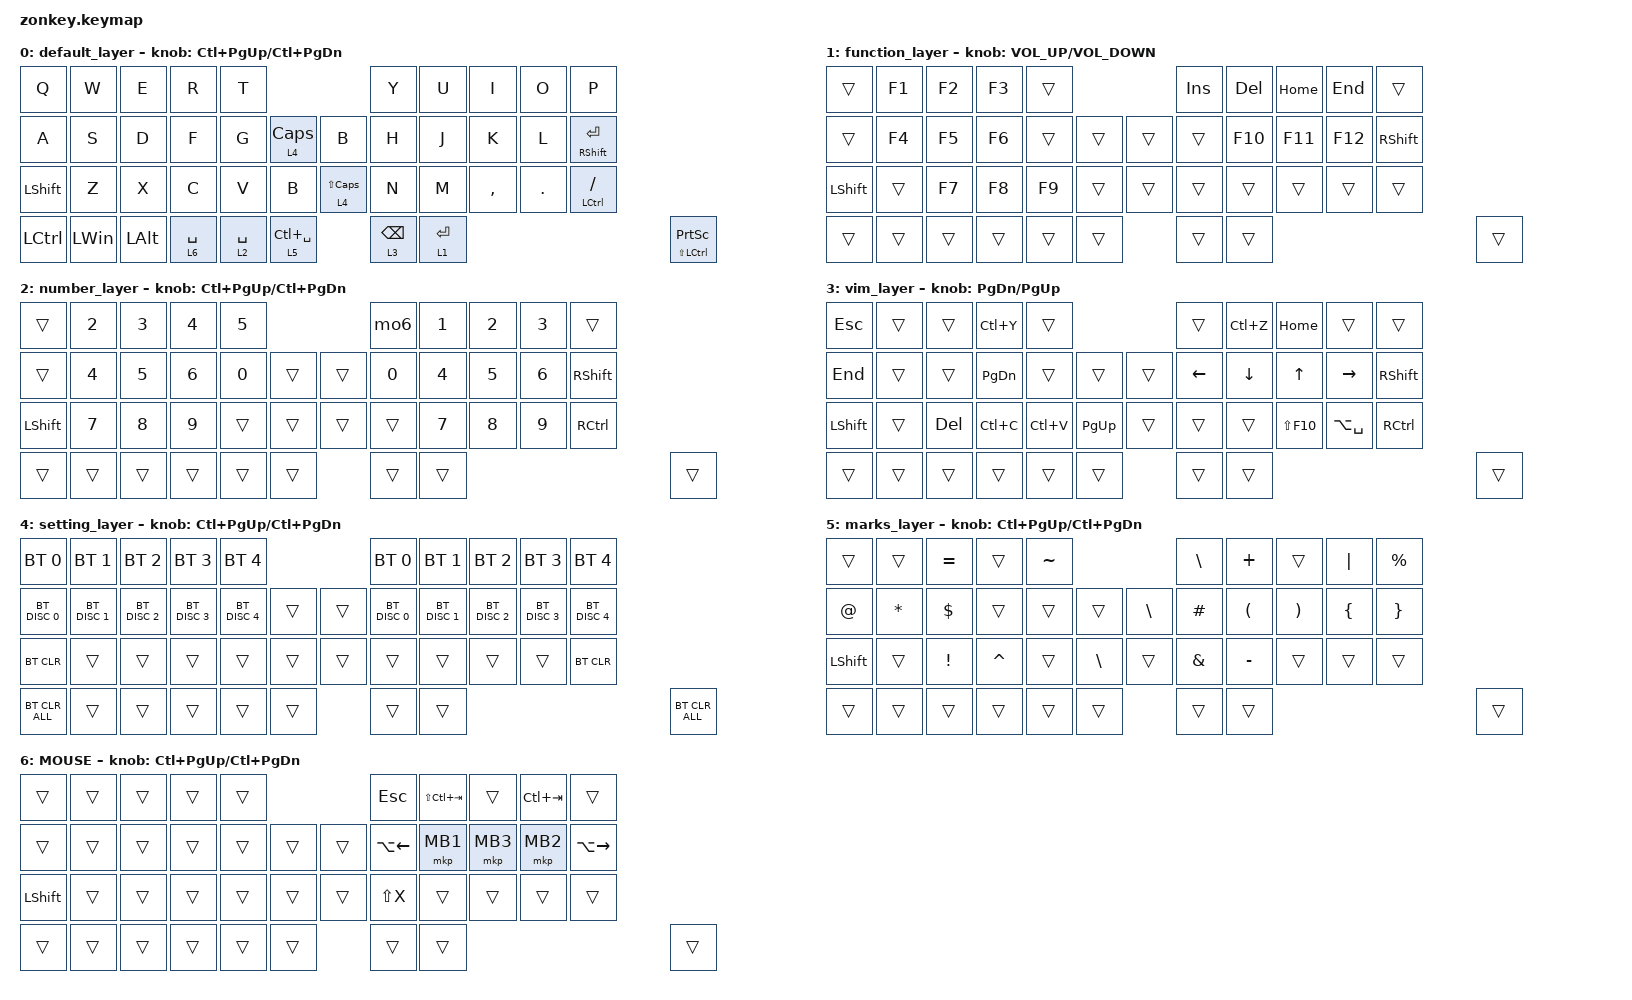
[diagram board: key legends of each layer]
#include <physical_layouts.dtsi>
#include <behaviors.dtsi>
#include <dt-bindings/zmk/bt.h>
#include <dt-bindings/zmk/keys.h>
#include <dt-bindings/zmk/pointing.h>

#define ZMK_POINTING_DEFAULT_SCRL_VAL 100
#define DFb 0
#define JIS 1
#define BT 4
#define MOUSE 6
#define JP_DQUOTE       AT                // "
#define JP_AMPERSAND    CARET             // &
#define JP_QUOTE        AMPERSAND         // '
#define JP_EQUAL        UNDER             // =
#define JP_CARET        EQUAL             // ^
#define JP_YEN          0x89              // ¥
#define JP_PLUS         COLON             // +
#define JP_TILDE        PLUS              // ~
#define JP_PIPE         LS(0x89)          // |
#define JP_AT           LEFT_BRACKET      // @
#define JP_COLON        SINGLE_QUOTE      // :
#define JP_ASTERISK     DOUBLE_QUOTES     // *
#define JP_BACKQUOTE    LEFT_BRACE        // `
#define JP_UNDERSCORE   LS(0x87)          // _
#define JP_LBRACKET     RIGHT_BRACKET     // [
#define JP_RBRACKET     BACKSLASH         // ]
#define JP_LPAREN       ASTERISK          // (
#define JP_RPAREN       LEFT_PARENTHESIS  // )
#define JP_LBRACE       RIGHT_BRACE       // {
#define JP_RBRACE       PIPE              // }
#define JP_KANA         LANGUAGE_1        // かな
#define JP_EISU         LANGUAGE_2        // 英数
#define JP_HANZEN       GRAVE             // 半角/全角
#define JP_BSLH  INT1         // (backslash)

&mt {
    flavor = "balanced";
    quick-tap-ms = <0>;
};

/ {
    combos {
        compatible = "zmk,combos";

        tab {
            bindings = <&kp TAB>;
            key-positions = <11 12>;
        };

        shift+tab {
            bindings = <&kp LS(TAB)>;
            key-positions = <12 13>;
        };

        esc {
            bindings = <&kp ESCAPE>;
            key-positions = <1 10>;
        };

        minus {
            bindings = <&kp MINUS>;
            key-positions = <8 7>;
        };

        equal {
            bindings = <&kp EQUAL>;
            key-positions = <9 8>;
        };

        semicoron {
            bindings = <&kp SEMICOLON>;
            key-positions = <20 19>;
        };

        single-quote {
            bindings = <&kp SINGLE_QUOTE>;
            key-positions = <32 31>;
        };

        grave {
            bindings = <&kp GRAVE>;
            key-positions = <11 13>;
        };

        left-bracket {
            bindings = <&kp LEFT_BRACKET>;
            key-positions = <18 7>;
        };

        right_bracket {
            bindings = <&kp RIGHT_BRACKET>;
            key-positions = <18 19>;
        };

        ctrl+w {
            bindings = <&kp LC(W)>;
            key-positions = <30 31>;
        };

        ctrl+w2 {
            bindings = <&kp LC(W)>;
            key-positions = <25 26>;
        };

        select-all {
            bindings = <&kp LC(A)>;
            key-positions = <23 24>;
        };

        unselect-all {
            bindings = <&kp LC(LS(A))>;
            key-positions = <24 25>;
        };
    };

    macros {
        to_layer_0: to_layer_0 {
            compatible = "zmk,behavior-macro-one-param";
            #binding-cells = <1>;
            bindings = <&to 0 &macro_param_1to1 &kp MACRO_PLACEHOLDER>;
            label = "TO_LAYER_0";
        };
    };

    behaviors {
        lt_to_layer_0: lt_to_layer_0 {
            compatible = "zmk,behavior-hold-tap";
            label = "LAYER_TAP_TO_0";
            bindings = <&mo>, <&to_layer_0>;

            #binding-cells = <2>;
            tapping-term-ms = <200>;
        };

        mo2: mo2 {
            compatible = "zmk,behavior-mod-morph";
            #binding-cells = <0>;
            bindings = <&kp N2>, <&kp AT>;

            mods = <(MOD_LSFT|MOD_RSFT)>;
        };

        mo6: mo6 {
            compatible = "zmk,behavior-mod-morph";
            #binding-cells = <0>;
            bindings = <&kp N6>, <&kp CARET>;

            mods = <(MOD_LSFT|MOD_RSFT)>;
        };

        mo7: mo7 {
            compatible = "zmk,behavior-mod-morph";
            #binding-cells = <0>;
            bindings = <&kp N7>, <&kp AMPS>;

            mods = <(MOD_LSFT|MOD_RSFT)>;
        };

        mo8: mo8 {
            compatible = "zmk,behavior-mod-morph";
            #binding-cells = <0>;
            bindings = <&kp N8>, <&kp ASTRK>;

            mods = <(MOD_LSFT|MOD_RSFT)>;
        };

        mo9: mo9 {
            compatible = "zmk,behavior-mod-morph";
            #binding-cells = <0>;
            bindings = <&kp N9>, <&kp LPAR>;

            mods = <(MOD_LSFT|MOD_RSFT)>;
        };

        mo0: mo0 {
            compatible = "zmk,behavior-mod-morph";
            #binding-cells = <0>;
            bindings = <&kp N0>, <&kp LS(N9)>;

            mods = <(MOD_LSFT|MOD_RSFT)>;
        };

        moA: moA {
            compatible = "zmk,behavior-mod-morph";
            #binding-cells = <0>;
            bindings = <&kp MINUS>, <&kp UNDERSCORE>;

            mods = <(MOD_LSFT|MOD_RSFT)>;
        };

        moB: moB {
            compatible = "zmk,behavior-mod-morph";
            #binding-cells = <0>;
            bindings = <&kp EQUAL>, <&kp PLUS>;

            mods = <(MOD_LSFT|MOD_RSFT)>;
        };

        moC: moC {
            compatible = "zmk,behavior-mod-morph";
            #binding-cells = <0>;
            bindings = <&kp INT3>, <&kp JP_PIPE>;

            mods = <(MOD_LSFT|MOD_RSFT)>;
        };

        moD: moD {
            compatible = "zmk,behavior-mod-morph";
            #binding-cells = <0>;
            bindings = <&kp LBKT>, <&kp LBRC>;

            mods = <(MOD_LSFT|MOD_RSFT)>;
        };

        moE: moE {
            compatible = "zmk,behavior-mod-morph";
            #binding-cells = <0>;
            bindings = <&kp RBKT>, <&kp RBRC>;

            mods = <(MOD_LSFT|MOD_RSFT)>;
        };

        moF: moF {
            compatible = "zmk,behavior-mod-morph";
            #binding-cells = <0>;
            bindings = <&kp SEMI>, <&kp KP_PLUS>;

            mods = <(MOD_LSFT|MOD_RSFT)>;
        };

        moG: moG {
            compatible = "zmk,behavior-mod-morph";
            #binding-cells = <0>;
            bindings = <&kp APOSTROPHE>, <&kp DQT>;

            mods = <(MOD_LSFT|MOD_RSFT)>;
        };

        moH: moH {
            compatible = "zmk,behavior-mod-morph";
            #binding-cells = <0>;
            bindings = <&kp BACKSLASH>, <&kp TILDE2>;

            mods = <(MOD_LSFT|MOD_RSFT)>;
        };

        moI: moI {
            compatible = "zmk,behavior-mod-morph";
            #binding-cells = <0>;
            bindings = <&kp JP_BSLH>, <&kp JP_UNDERSCORE>;

            mods = <(MOD_LSFT|MOD_RSFT)>;
        };

        scroll_up_down: behavior_sensor_rotate_mouse_wheel_up_down {
            compatible = "zmk,behavior-sensor-rotate";
            #sensor-binding-cells = <0>;
            bindings = <&msc SCRL_UP>, <&msc SCRL_DOWN>;

            tap-ms = <20>;
        };

        lt_and_continue_input: lt_and_continue_input {
            compatible = "zmk,behavior-hold-tap";
            label = "LT_AND_CONTINUE_INPUT";
            bindings = <&mo>, <&kp>;

            #binding-cells = <2>;
            tapping-term-ms = <200>;
            quick-tap-ms = <300>;
            flavor = "balanced";
        };
    };

    keymap {
        compatible = "zmk,keymap";

        default_layer {
            bindings = <
&kp Q           &kp W         &kp E         &kp R                   &kp T                                               &kp Y                               &kp U                   &kp I      &kp O    &kp P
&kp A           &kp S         &kp D         &kp F                   &kp G        &lt 4 CAPSLOCK     &kp B               &kp H                               &kp J                   &kp K      &kp L    &mt RIGHT_SHIFT ENTER
&kp LEFT_SHIFT  &kp Z         &kp X         &kp C                   &kp V        &kp B              &lt 4 LS(CAPSLOCK)  &kp N                               &kp M                   &kp COMMA  &kp DOT  &mt LEFT_CONTROL SLASH
&kp LCTRL       &kp LEFT_WIN  &kp LEFT_ALT  &lt_to_layer_0 6 SPACE  &lt 2 SPACE  &lt 5 LC(SPACE)                        &lt_and_continue_input 3 BACKSPACE  &lt_to_layer_0 1 ENTER                                              &mt LS(LEFT_CONTROL) PRINTSCREEN
            >;

            sensor-bindings = <&inc_dec_kp LC(PAGE_UP) LC(PAGE_DOWN)>;
        };

        function_layer {
            bindings = <
&trans          &kp F1  &kp F2  &kp F3  &trans                    &kp INS  &kp DELETE  &kp HOME  &kp END  &trans
&trans          &kp F4  &kp F5  &kp F6  &trans  &trans    &trans  &trans   &kp F10     &kp F11   &kp F12  &kp RSHFT
&kp LEFT_SHIFT  &trans  &kp F7  &kp F8  &kp F9  &trans    &trans  &trans   &trans      &trans    &trans   &trans
&trans          &trans  &trans  &trans  &trans  &trans            &trans   &trans                                    &trans
            >;

            sensor-bindings = <&inc_dec_kp C_VOLUME_UP C_VOLUME_DOWN>;
        };

        number_layer {
            bindings = <
&trans     &kp N2  &kp N3  &kp N4  &kp N5                    &mo6    &kp N1  &kp N2  &kp N3  &trans
&trans     &kp N4  &kp N5  &kp N6  &kp N0  &trans    &trans  &kp N0  &kp N4  &kp N5  &kp N6  &kp RSHFT
&kp LSHFT  &kp N7  &kp N8  &kp N9  &trans  &trans    &trans  &trans  &kp N7  &kp N8  &kp N9  &kp RCTRL
&trans     &trans  &trans  &trans  &trans  &trans            &trans  &trans                             &trans
            >;

            sensor-bindings = <&inc_dec_kp LC(PAGE_UP) LC(PAGE_DOWN)>;
        };

        vim_layer {
            bindings = <
&kp ESCAPE      &trans  &trans   &kp LC(Y)      &trans                            &trans          &kp LC(Z)       &kp HOME      &trans           &trans
&kp END         &trans  &trans   &kp PAGE_DOWN  &trans     &trans         &trans  &kp LEFT_ARROW  &kp DOWN_ARROW  &kp UP_ARROW  &kp RIGHT_ARROW  &kp RIGHT_SHIFT
&kp LEFT_SHIFT  &trans  &kp DEL  &kp LC(C)      &kp LC(V)  &kp PAGE_UP    &trans  &trans          &trans          &kp LS(F10)   &kp LA(SPACE)    &kp RIGHT_CONTROL
&trans          &trans  &trans   &trans         &trans     &trans                 &trans          &trans                                                            &trans
            >;

            sensor-bindings = <&inc_dec_kp PAGE_DOWN PAGE_UP>;
        };

        setting_layer {
            bindings = <
&bt BT_SEL 0    &bt BT_SEL 1   &bt BT_SEL 2   &bt BT_SEL 3   &bt BT_SEL 4                     &bt BT_SEL 0   &bt BT_SEL 1   &bt BT_SEL 2   &bt BT_SEL 3   &bt BT_SEL 4
&bt BT_DISC 0   &bt BT_DISC 1  &bt BT_DISC 2  &bt BT_DISC 3  &bt BT_DISC 4  &trans    &trans  &bt BT_DISC 0  &bt BT_DISC 1  &bt BT_DISC 2  &bt BT_DISC 3  &bt BT_DISC 4
&bt BT_CLR      &trans         &trans         &trans         &trans         &trans    &trans  &trans         &trans         &trans         &trans         &bt BT_CLR
&bt BT_CLR_ALL  &trans         &trans         &trans         &trans         &trans            &trans         &trans                                                      &bt BT_CLR_ALL
            >;

            sensor-bindings = <&inc_dec_kp LC(PAGE_UP) LC(PAGE_DOWN)>;
        };

        marks_layer {
            bindings = <
&trans          &trans     &kp EQUAL   &trans     &kp TILDE                                  &kp BACKSLASH  &kp PLUS              &trans                 &kp PIPE        &kp PERCENT
&kp AT          &kp ASTRK  &kp DOLLAR  &trans     &trans     &trans           &kp BACKSLASH  &kp HASH       &kp LEFT_PARENTHESIS  &kp RIGHT_PARENTHESIS  &kp LEFT_BRACE  &kp RIGHT_BRACE
&kp LEFT_SHIFT  &trans     &kp EXCL    &kp CARET  &trans     &kp BACKSLASH    &trans         &kp AMPERSAND  &kp MINUS             &trans                 &trans          &trans
&trans          &trans     &trans      &trans     &trans     &trans                          &trans         &trans                                                                        &trans
            >;

            sensor-bindings = <&inc_dec_kp LC(PAGE_UP) LC(PAGE_DOWN)>;
        };

        MOUSE {
            bindings = <
&trans          &trans  &trans  &trans  &trans                    &kp ESCAPE          &kp LS(LC(TAB))  &trans    &kp LC(TAB)  &trans
&trans          &trans  &trans  &trans  &trans  &trans    &trans  &kp LA(LEFT_ARROW)  &mkp MB1         &mkp MB3  &mkp MB2     &kp LA(RIGHT_ARROW)
&kp LEFT_SHIFT  &trans  &trans  &trans  &trans  &trans    &trans  &kp LS(X)           &trans           &trans    &trans       &trans
&trans          &trans  &trans  &trans  &trans  &trans            &trans              &trans                                                       &trans
            >;

            sensor-bindings = <&inc_dec_kp LC(PAGE_UP) LC(PAGE_DOWN)>;
        };
    };
};
